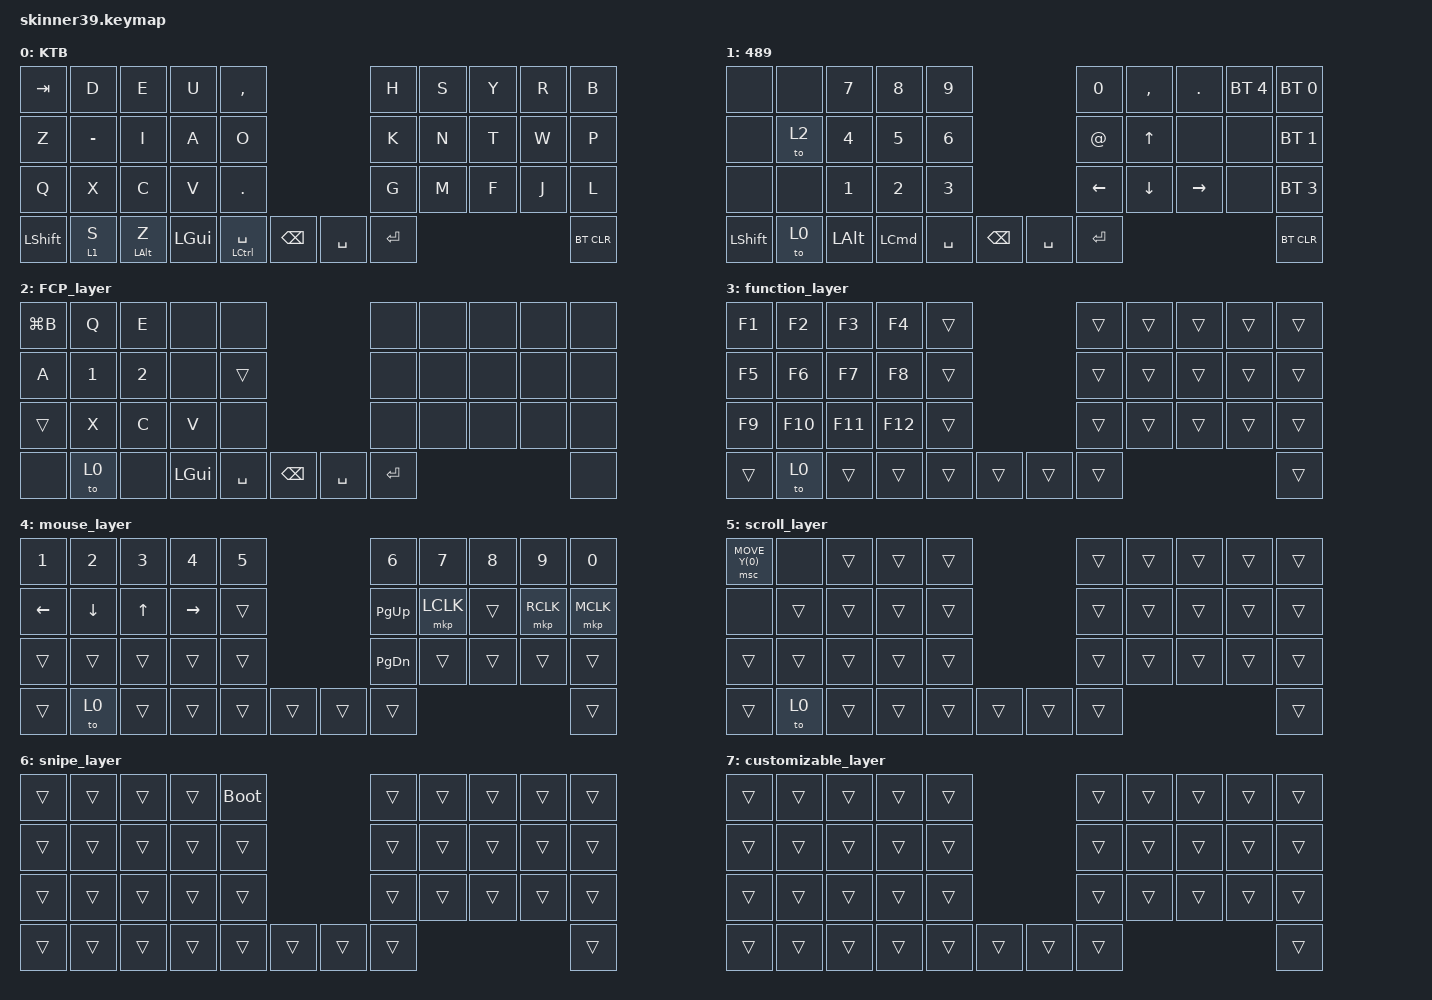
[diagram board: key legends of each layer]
#include <behaviors.dtsi>
#include <dt-bindings/zmk/bt.h>
#include <dt-bindings/zmk/keys.h>
#include <dt-bindings/zmk/pointing.h>

/ {
    combos {
        compatible = "zmk,combos";

        esc {
            bindings = <&kp ESCAPE>;
            key-positions = <1 2>;
            timeout-ms = <32>;
        };

        pl {
            bindings = <&kp LEFT_PARENTHESIS>;
            key-positions = <5 6>;
            timeout-ms = <32>;
        };

        pr {
            bindings = <&kp RIGHT_PARENTHESIS>;
            key-positions = <6 7>;
            timeout-ms = <32>;
        };

        kl {
            bindings = <&kp LEFT_BRACKET>;
            key-positions = <7 8>;
            timeout-ms = <32>;
        };

        kr {
            bindings = <&kp RIGHT_BRACKET>;
            key-positions = <8 9>;
            timeout-ms = <32>;
        };

        hate {
            bindings = <&kp QUESTION>;
            key-positions = <9 19>;
            timeout-ms = <32>;
        };

        ss4 {
            bindings = <&kp LG(LS(NUMBER_4))>;
            key-positions = <20 21>;
            timeout-ms = <32>;
        };

        caps {
            bindings = <&kp CAPS>;
            key-positions = <20 10>;
            timeout-ms = <32>;
        };

        up {
            bindings = <&kp UP_ARROW>;
            key-positions = <13 14>;
            timeout-ms = <32>;
        };

        dw {
            bindings = <&kp DOWN>;
            key-positions = <23 24>;
            timeout-ms = <32>;
        };

        le {
            bindings = <&kp LEFT_ARROW>;
            key-positions = <13 23>;
            timeout-ms = <32>;
        };

        ri {
            bindings = <&kp RIGHT_ARROW>;
            key-positions = <14 24>;
            timeout-ms = <32>;
        };

        clcL {
            bindings = <&mkp LCLK>;
            key-positions = <16 17>;
            timeout-ms = <32>;
        };

        clcR {
            bindings = <&mkp RCLK>;
            key-positions = <17 18>;
            timeout-ms = <32>;
        };

        BTC {
            bindings = <&bt BT_CLR_ALL>;
            key-positions = <3 4>;
            timeout-ms = <32>;
        };
    };

    keymap {
        compatible = "zmk,keymap";

        ONISHI {
            bindings = <
  &kp TAB    &kp D      &kp E           &kp U         &kp COMMA                                  &kp H    &kp S  &kp Y  &kp R  &kp B
  &kp Z      &kp MINUS  &kp I           &kp A         &kp O                                      &kp K    &kp N  &kp T  &kp W  &kp P
  &kp Q      &kp X      &kp C           &kp V         &kp PERIOD                                 &kp G    &kp M  &kp F  &kp J  &kp L
  &kp LSHFT  &lt 1 S    &mt LEFT_ALT Z  &kp LEFT_GUI  &mt LCTRL SPACE  &kp BACKSPACE  &kp SPACE  &kp RET                       &bt BT_CLR
            >;

            label = "KTB";
        };

        NUM {
            bindings = <
  &none      &none  &kp N7        &kp N8        &kp N9                                  &kp N0          &kp COMMA     &kp PERIOD  &bt BT_SEL 4  &bt BT_SEL 0
  &none      &to 2  &kp NUMBER_4  &kp N5        &kp NUMBER_6                            &kp AT          &kp UP_ARROW  &none       &none         &bt BT_SEL 1
  &none      &none  &kp NUMBER_1  &kp NUMBER_2  &kp NUMBER_3                            &kp LEFT_ARROW  &kp DOWN      &kp RIGHT   &none         &bt BT_SEL 3
  &kp LSHFT  &to 0  &kp LALT      &kp LCMD      &kp SPACE     &kp BACKSPACE  &kp SPACE  &kp RET                                                 &bt BT_CLR
            >;

            label = "489";
        };

        FCP_layer {
            bindings = <
  &kp LG(B)  &kp Q         &kp E         &none     &none                                &none    &none  &none  &none  &none
  &kp A      &kp NUMBER_1  &kp NUMBER_2  &none     &trans                               &none    &none  &none  &none  &none
  &trans     &kp X         &kp C         &kp V     &none                                &none    &none  &none  &none  &none
  &none      &to 0         &none         &kp LGUI  &kp SPACE  &kp BACKSPACE  &kp SPACE  &kp RET                       &none
            >;
        };

        function_layer {
            bindings = <
  &kp F1  &kp F2   &kp F3   &kp F4   &trans                  &trans  &trans  &trans  &trans  &trans
  &kp F5  &kp F6   &kp F7   &kp F8   &trans                  &trans  &trans  &trans  &trans  &trans
  &kp F9  &kp F10  &kp F11  &kp F12  &trans                  &trans  &trans  &trans  &trans  &trans
  &trans  &to 0    &trans   &trans   &trans  &trans  &trans  &trans                          &trans
            >;
        };

        mouse_layer {
            bindings = <
  &kp N1          &kp N2          &kp N3        &kp N4     &kp N5                  &kp N6         &kp N7     &kp N8  &kp N9     &kp N0
  &kp LEFT_ARROW  &kp DOWN_ARROW  &kp UP_ARROW  &kp RIGHT  &trans                  &kp PAGE_UP    &mkp LCLK  &trans  &mkp RCLK  &mkp MCLK
  &trans          &trans          &trans        &trans     &trans                  &kp PAGE_DOWN  &trans     &trans  &trans     &trans
  &trans          &to 0           &trans        &trans     &trans  &trans  &trans  &trans                                       &trans
            >;
        };

        scroll_layer {
            bindings = <
  &msc MOVE_Y(0)  &none   &trans  &trans  &trans                  &trans  &trans  &trans  &trans  &trans
  &none           &trans  &trans  &trans  &trans                  &trans  &trans  &trans  &trans  &trans
  &trans          &trans  &trans  &trans  &trans                  &trans  &trans  &trans  &trans  &trans
  &trans          &to 0   &trans  &trans  &trans  &trans  &trans  &trans                          &trans
            >;
        };

        snipe_layer {
            bindings = <
  &trans  &trans  &trans  &trans  &bootloader                  &trans  &trans  &trans  &trans  &trans
  &trans  &trans  &trans  &trans  &trans                       &trans  &trans  &trans  &trans  &trans
  &trans  &trans  &trans  &trans  &trans                       &trans  &trans  &trans  &trans  &trans
  &trans  &trans  &trans  &trans  &trans       &trans  &trans  &trans                          &trans
            >;
        };

        customizable_layer {
            bindings = <
  &trans  &trans  &trans  &trans  &trans                  &trans  &trans  &trans  &trans  &trans
  &trans  &trans  &trans  &trans  &trans                  &trans  &trans  &trans  &trans  &trans
  &trans  &trans  &trans  &trans  &trans                  &trans  &trans  &trans  &trans  &trans
  &trans  &trans  &trans  &trans  &trans  &trans  &trans  &trans                          &trans
            >;
        };
    };
};
